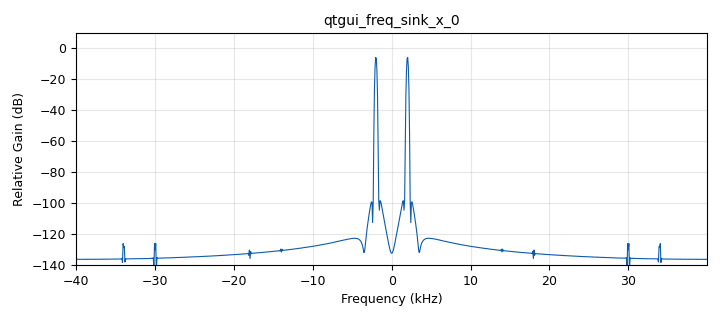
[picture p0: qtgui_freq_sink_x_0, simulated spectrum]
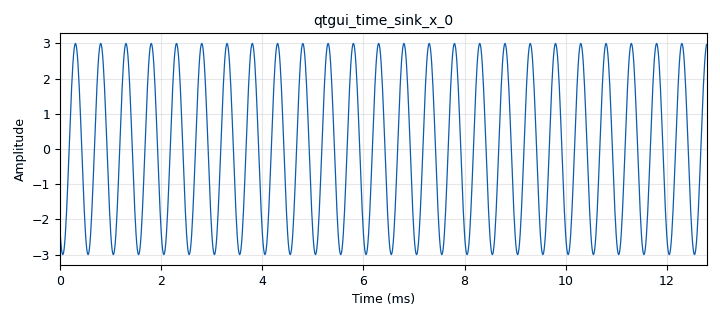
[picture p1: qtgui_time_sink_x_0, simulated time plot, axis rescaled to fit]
options:
  parameters:
    author: oscar_castellanos_juan_gonzalez_B1A_G1
    generate_options: qt_gui
    id: Lab_comu_1
    output_language: python
    title: primer_flujograma
  states: {}

blocks:
- name: amplitude
  id: variable_qtgui_range
  parameters:
    label: Amplitude
    start: '0'
    step: '0.1'
    stop: '5'
    value: '1'
  states: {}
- name: freq
  id: variable_qtgui_range
  parameters:
    label: 'Frequency '
    start: '1000'
    step: '1000'
    stop: '40000'
    value: '2000'
  states: {}
- name: frequency
  id: variable
  parameters:
    value: '4500'
  states: {state: disabled}
- name: offset
  id: variable_qtgui_range
  parameters:
    label: Offset
    start: '-5'
    step: '0.1'
    stop: '5'
    value: '0'
  states: {}
- name: samp_rate
  id: variable
  parameters:
    value: '80000'
  states: {}
- name: waveform
  id: variable_qtgui_chooser
  parameters:
    label: Waveform
    labels: '["Constant", "Sine", "Cosine", "Square", "Triangle", "Saw Tooth "]'
    num_opts: '0'
    options: '[100, 101, 102, 103, 104, 105]'
    type: raw
    value: '102'
  states: {}
- name: analog_sig_source_x_0
  id: analog_sig_source_x
  parameters:
    amp: '3'
    freq: freq
    offset: '0'
    phase: '0'
    samp_rate: samp_rate
    type: float
    waveform: waveform
  states: {}
- name: blocks_throttle2_0
  id: blocks_throttle2
  parameters:
    samples_per_second: samp_rate
    type: float
  states: {}
- name: qtgui_freq_sink_x_0
  id: qtgui_freq_sink_x
  parameters:
    bw: samp_rate
    fc: '0'
    fftsize: '1024'
    type: float
  states: {}
- name: qtgui_time_sink_x_0
  id: qtgui_time_sink_x
  parameters:
    size: '1024'
    srate: samp_rate
    type: float
  states: {}

connections:
- [analog_sig_source_x_0, '0', blocks_throttle2_0, '0']
- [blocks_throttle2_0, '0', qtgui_freq_sink_x_0, '0']
- [blocks_throttle2_0, '0', qtgui_time_sink_x_0, '0']

metadata:
  file_format: 1
  grc_version: v3.10.11.0-89-ga17f69e7
